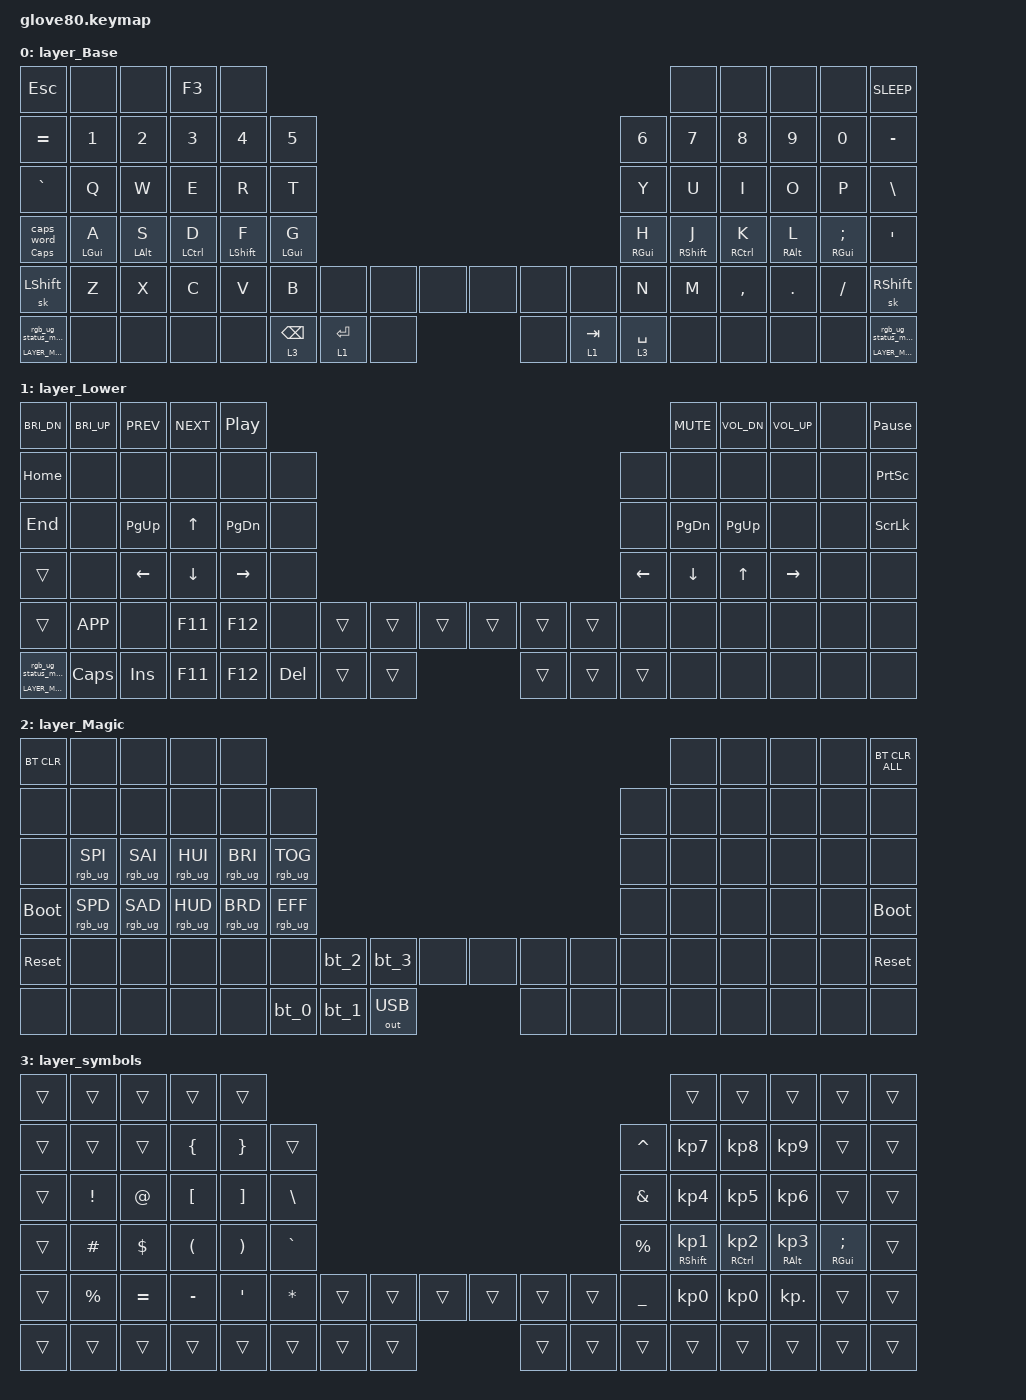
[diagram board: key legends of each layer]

/*
 * Copyright (c) 2020 The ZMK Contributors
 * Copyright (c) 2023 Innaworks Development Limited, trading as MoErgo
 *
 * SPDX-License-Identifier: MIT
 */


/* THIS FILE WAS GENERATED BY GLOVE80 LAYOUT EDITOR
 *
 * This file was generated automatically. You may or may not want to
 * edit it directly.
 */

#include <behaviors.dtsi>
/* Include all behaviour includes needed */
#include <dt-bindings/zmk/outputs.h>
#include <dt-bindings/zmk/keys.h>
#include <dt-bindings/zmk/bt.h>
#include <dt-bindings/zmk/rgb.h>

/* Automatically generated layer name #define */
#define LAYER_Base 0
#define LAYER_Lower 1
#define LAYER_Magic 2
#define LAYER_symbols 3

/* To deal with the situation where there is no Lower layer, to keep &lower happy */
#ifndef LAYER_Lower
#define LAYER_Lower 0
#endif

/* Custom Device-tree */



/* Glove80 system behavior & macros */
/ {
    behaviors {
        // For the "layer" key, it'd nice to be able to use it as either a shift or a toggle.
        // Configure it as a tap dance, so the first tap (or hold) is a &mo and the second tap is a &to
        lower: lower {
            compatible = "zmk,behavior-tap-dance";
            label = "LAYER_TAP_DANCE";
            #binding-cells = <0>;
            tapping-term-ms = <200>;
            bindings = <&mo LAYER_Lower>, <&to LAYER_Lower>;
        };
    };
};

/ {
    macros {
        rgb_ug_status_macro: rgb_ug_status_macro {
            label = "RGB_UG_STATUS";
            compatible = "zmk,behavior-macro";
            #binding-cells = <0>;
            bindings
                = <&rgb_ug RGB_STATUS>;
        };
    };
};


/ {
#ifdef BT_DISC_CMD
    behaviors {
        bt_0: bt_0 {
            compatible = "zmk,behavior-tap-dance";
            label = "BT_0";
            #binding-cells = <0>;
            tapping-term-ms = <200>;
            bindings = <&bt_select_0>, <&bt BT_DISC 0>;
        };
        bt_1: bt_1 {
            compatible = "zmk,behavior-tap-dance";
            label = "BT_1";
            #binding-cells = <0>;
            tapping-term-ms = <200>;
            bindings = <&bt_select_1>, <&bt BT_DISC 1>;
        };
        bt_2: bt_2 {
            compatible = "zmk,behavior-tap-dance";
            label = "BT_2";
            #binding-cells = <0>;
            tapping-term-ms = <200>;
            bindings = <&bt_select_2>, <&bt BT_DISC 2>;
        };
        bt_3: bt_3 {
            compatible = "zmk,behavior-tap-dance";
            label = "BT_3";
            #binding-cells = <0>;
            tapping-term-ms = <200>;
            bindings = <&bt_select_3>, <&bt BT_DISC 3>;
        };
    };
    macros {
        bt_select_0: bt_select_0 {
            label = "BT_SELECT_0";
            compatible = "zmk,behavior-macro";
            #binding-cells = <0>;
            bindings
                = <&out OUT_BLE>,
                  <&bt BT_SEL 0>;
        };
        bt_select_1: bt_select_1 {
            label = "BT_SELECT_1";
            compatible = "zmk,behavior-macro";
            #binding-cells = <0>;
            bindings
                = <&out OUT_BLE>,
                  <&bt BT_SEL 1>;
        };
        bt_select_2: bt_select_2 {
            label = "BT_SELECT_2";
            compatible = "zmk,behavior-macro";
            #binding-cells = <0>;
            bindings
                = <&out OUT_BLE>,
                  <&bt BT_SEL 2>;
        };
        bt_select_3: bt_select_3 {
            label = "BT_SELECT_3";
            compatible = "zmk,behavior-macro";
            #binding-cells = <0>;
            bindings
                = <&out OUT_BLE>,
                  <&bt BT_SEL 3>;
        };
    };
#else
    macros {
        bt_0: bt_0 {
            label = "BT_0";
            compatible = "zmk,behavior-macro";
            #binding-cells = <0>;
            bindings
                = <&out OUT_BLE>,
                  <&bt BT_SEL 0>;
        };
        bt_1: bt_1 {
            label = "BT_1";
            compatible = "zmk,behavior-macro";
            #binding-cells = <0>;
            bindings
                = <&out OUT_BLE>,
                  <&bt BT_SEL 1>;
        };
        bt_2: bt_2 {
            label = "BT_2";
            compatible = "zmk,behavior-macro";
            #binding-cells = <0>;
            bindings
                = <&out OUT_BLE>,
                  <&bt BT_SEL 2>;
        };
        bt_3: bt_3 {
            label = "BT_3";
            compatible = "zmk,behavior-macro";
            #binding-cells = <0>;
            bindings
                = <&out OUT_BLE>,
                  <&bt BT_SEL 3>;
        };
    };
#endif
};

/ {
    behaviors {
        magic: magic {
            compatible = "zmk,behavior-hold-tap";
            label = "MAGIC_HOLD_TAP";
            #binding-cells = <2>;
            flavor = "tap-preferred";
            tapping-term-ms = <200>;
            bindings = <&mo>, <&rgb_ug_status_macro>;
        };
    };
};

/* #define for key positions */
#define POS_LH_T1 52
#define POS_LH_T2 53
#define POS_LH_T3 54
#define POS_LH_T4 69
#define POS_LH_T5 70
#define POS_LH_T6 71
#define POS_LH_C1R2 15
#define POS_LH_C1R3 27
#define POS_LH_C1R4 39
#define POS_LH_C1R5 51
#define POS_LH_C2R1 4
#define POS_LH_C2R2 14
#define POS_LH_C2R3 26
#define POS_LH_C2R4 38
#define POS_LH_C2R5 50
#define POS_LH_C2R6 68
#define POS_LH_C3R1 3
#define POS_LH_C3R2 13
#define POS_LH_C3R3 25
#define POS_LH_C3R4 37
#define POS_LH_C3R5 49
#define POS_LH_C3R6 67
#define POS_LH_C4R1 2
#define POS_LH_C4R2 12
#define POS_LH_C4R3 24
#define POS_LH_C4R4 36
#define POS_LH_C4R5 48
#define POS_LH_C4R6 66
#define POS_LH_C5R1 1
#define POS_LH_C5R2 11
#define POS_LH_C5R3 23
#define POS_LH_C5R4 35
#define POS_LH_C5R5 47
#define POS_LH_C5R6 65
#define POS_LH_C6R1 0
#define POS_LH_C6R2 10
#define POS_LH_C6R3 22
#define POS_LH_C6R4 34
#define POS_LH_C6R5 46
#define POS_LH_C6R6 64
#define POS_RH_T1 57
#define POS_RH_T2 56
#define POS_RH_T3 55
#define POS_RH_T4 74
#define POS_RH_T5 73
#define POS_RH_T6 72
#define POS_RH_C1R2 16
#define POS_RH_C1R3 28
#define POS_RH_C1R4 40
#define POS_RH_C1R5 58
#define POS_RH_C2R1 5
#define POS_RH_C2R2 17
#define POS_RH_C2R3 29
#define POS_RH_C2R4 41
#define POS_RH_C2R5 59
#define POS_RH_C2R6 75
#define POS_RH_C3R1 6
#define POS_RH_C3R2 18
#define POS_RH_C3R3 30
#define POS_RH_C3R4 42
#define POS_RH_C3R5 60
#define POS_RH_C3R6 76
#define POS_RH_C4R1 7
#define POS_RH_C4R2 19
#define POS_RH_C4R3 31
#define POS_RH_C4R4 43
#define POS_RH_C4R5 61
#define POS_RH_C4R6 77
#define POS_RH_C5R1 8
#define POS_RH_C5R2 20
#define POS_RH_C5R3 32
#define POS_RH_C5R4 44
#define POS_RH_C5R5 62
#define POS_RH_C5R6 78
#define POS_RH_C6R1 9
#define POS_RH_C6R2 21
#define POS_RH_C6R3 33
#define POS_RH_C6R4 45
#define POS_RH_C6R5 63
#define POS_RH_C6R6 79

    /* Custom Defined Behaviors */
/ {
    behaviors {
    // mod/mod-shift tap-dance
    command_td: command_td_1 {
        compatible = "zmk,behavior-tap-dance";
        label = "COMMAND_TAP_DANCE";
        #binding-cells = <0>;
        tapping-term-ms = <200>;
        bindings = <&kp LGUI>, <&kp LS(LGUI)>;
    };

    loption_td: option_td_1 {
        compatible = "zmk,behavior-tap-dance";
        label = "LOPTION_TAP_DANCE";
        #binding-cells = <0>;
        tapping-term-ms = <200>;
        bindings = <&kp LALT>, <&kp LS(LALT)>;
    };
    roption_td: option_td_2 {
        compatible = "zmk,behavior-tap-dance";
        label = "ROPTION_TAP_DANCE";
        #binding-cells = <0>;
        tapping-term-ms = <200>;
        bindings = <&kp RALT>, <&kp LS(RALT)>;
    };

    ctrl_td: ctrl_td_1 {
        compatible = "zmk,behavior-tap-dance";
        label = "CTRL_TAP_DANCE";
        #binding-cells = <0>;
        tapping-term-ms = <200>;
        bindings = <&kp LCTRL>, <&kp LS(LCTRL)>;
    };

    lshift_td: shift_td_1 {
        compatible = "zmk,behavior-tap-dance";
        label = "LSHIFT_TAP_DANCE";
        #binding-cells = <0>;
        tapping-term-ms = <200>;
        bindings = <&kp LSHIFT>, <&kp CAPSLOCK >;
    };
    rshift_td: shift_td_2 {
        compatible = "zmk,behavior-tap-dance";
        label = "LSHIFT_TAP_DANCE";
        #binding-cells = <0>;
        tapping-term-ms = <200>;
        bindings = <&kp RSHIFT>, <&kp CAPSLOCK >;
    };

//////////////////////////////////////////////////////////////////////////
//
// ** BEGIN BEHAVIORS (copied from https://my.glove80.com/#/layout/user/c4d374f7-6439-4454-af14-efe617bba9e3)
//
//////////////////////////////////////////////////////////////////////////

    //////////////////////////////////////////////////////////////////////////
    //
    // ** HOME ROW MODIFICATION
    //
    //////////////////////////////////////////////////////////////////////////
    //
    // Miryoku layers and home row mods (ported from my QMK endgame)
    // - https://sunaku.github.io/home-row-mods.html#porting-to-zmk
    // - https://github.com/urob/zmk-config#timeless-homerow-mods
    //
    //////////////////////////////////////////////////////////////////////////

    //
    // HOMEY_HOLDING_TYPE defines the flavor of ZMK hold-tap behavior to use
    // for the pinky, ring, and middle fingers (which are assigned to Super,
    // Alt, and Ctrl respectively in the Miryoku system) on home row keys.
    //
    #ifndef HOMEY_HOLDING_TYPE
    #define HOMEY_HOLDING_TYPE "tap-preferred"
    #endif

    //
    // HOMEY_HOLDING_TIME defines how long you need to hold (milliseconds)
    // home row mod keys in order to send their modifiers to the computer
    // (i.e. "register" them) for mod-click mouse usage (e.g. Ctrl-Click).
    //
    #ifndef HOMEY_HOLDING_TIME
    #define HOMEY_HOLDING_TIME 270 // TAPPING_TERM + ALLOW_CROSSOVER_AFTER
    #endif

    //
    // HOMEY_STREAK_DECAY defines how long you need to wait (milliseconds)
    // after typing before you can use home row mods again.  It prevents
    // unintended activation of home row mods when you're actively typing.
    //
    #ifndef HOMEY_STREAK_DECAY
    #define HOMEY_STREAK_DECAY 170 // global-quick-tap-ms
    #endif

    //
    // HOMEY_REPEAT_DECAY defines how much time you have left (milliseconds)
    // after tapping a key to hold it again in order to make it auto-repeat.
    //
    #ifndef HOMEY_REPEAT_DECAY
    #define HOMEY_REPEAT_DECAY 300 // "tap then hold" for key auto-repeat
    #endif

    //
    // SHIFT_HOLDING_TYPE defines the flavor of ZMK hold-tap behavior to use
    // for index fingers (which Miryoku assigns to Shift) on home row keys.
    //
    // NOTE: The "tap-preferred" flavor of ZMK hold-tap for index finger keys
    // allows faster activation of the Shift modifier (without having to wait
    // for the modified key to be released as the "balanced" flavor requires).
    // Typing streaks and the `hold-trigger-on-release` setting are disabled
    // for the index fingers so as not to hinder their speed and dexterity.
    //
    #ifndef SHIFT_HOLDING_TYPE
    #define SHIFT_HOLDING_TYPE "tap-preferred"
    #endif

    //
    // SHIFT_HOLDING_TIME defines how long you need to hold (milliseconds)
    // index finger keys in order to send their modifiers to the computer
    // (i.e. "register" them) for mod-click mouse usage (e.g. Shift-Click).
    //
    // CAUTION: You'll need to perform inward rolls from pinky->ring->middle
    // fingers toward the index fingers when activating multiple modifiers
    // because `hold-trigger-on-release` is disabled for the index fingers.
    // Otherwise, you may be surprised that the index fingers' modifier is
    // sent immediately without the rest of your multi-mod chord when you
    // perform outward rolls from your index fingers toward your pinkies.
    //

    // originally 170, pm updated to 200
    #ifndef SHIFT_HOLDING_TIME
    #define SHIFT_HOLDING_TIME 200
    #endif

    //
    // SHIFT_STREAK_DECAY defines how long you need to wait (milliseconds)
    // after typing before you can use home row mods again.  It prevents
    // unintended activation of home row mods when you're actively typing.
    //
    #ifndef SHIFT_STREAK_DECAY
    #define SHIFT_STREAK_DECAY 70 // global-quick-tap-ms
    #endif

    //
    // SHIFT_REPEAT_DECAY defines how much time you have left (milliseconds)
    // after tapping a key to hold it again in order to make it auto-repeat.
    //
    #ifndef SHIFT_REPEAT_DECAY
    #define SHIFT_REPEAT_DECAY 300 // "tap then hold" for key auto-repeat
    #endif

    //
    // THUMB_HOLDING_TYPE defines the flavor of ZMK hold-tap behavior to use
    // for the thumbs (which are assigned to 6 layers in the Miryoku system).
    //
    // NOTE: The "balanced" flavor of ZMK hold-tap provides instant modifier
    // activation for the symbol layer (if the tapped symbol key is released
    // while the thumb layer key is still held down) for quicker programming.
    //
    #ifndef THUMB_HOLDING_TYPE
    #define THUMB_HOLDING_TYPE "balanced"
    #endif

    //
    // THUMB_HOLDING_TIME defines how long you need to hold (milliseconds)
    // a thumb key to activate a layer.  Shorter holds are treated as taps.
    //
    #ifndef THUMB_HOLDING_TIME
    #define THUMB_HOLDING_TIME 200
    #endif

    //
    // THUMB_REPEAT_DECAY defines how much time you have left (milliseconds)
    // after tapping a key to hold it again in order to make it auto-repeat.
    //
    #ifndef THUMB_REPEAT_DECAY
    #define THUMB_REPEAT_DECAY 300 // "tap then hold" for key auto-repeat
    #endif

    //
    // SPACE_HOLDING_TIME defines how long you need to hold (milliseconds)
    // the space thumb key to activate.  Shorter holds are treated as taps.
    //
    #ifndef SPACE_HOLDING_TIME
    #define SPACE_HOLDING_TIME 170
    #endif

    //
    // SPACE_REPEAT_DECAY defines how much time you have left (milliseconds)
    // after tapping a key to hold it again in order to make it auto-repeat.
    //
    #ifndef SPACE_REPEAT_DECAY
    #define SPACE_REPEAT_DECAY 200 // "tap then hold" for key auto-repeat
    #endif

    // CAPPY_HOLDING_TIME defines how long you need to hold (milliseconds)
    // cappy to type CapsLock.  Shorter holds are taps that type CapsWord.
    //
    #ifndef CAPPY_HOLDING_TIME
    #define CAPPY_HOLDING_TIME 200
    #endif

    //
    // Glove80 key positions index for positional hold-tap
    // - https://discord.com/channels/877392805654306816/937645688244826154/1066713913351221248
    // - https://media.discordapp.net/attachments/937645688244826154/1066713913133121556/image.png
    //
    // |------------------------|------------------------|
    // | LEFT_HAND_KEYS         |        RIGHT_HAND_KEYS |
    // |                        |                        |
    // |  0  1  2  3  4         |          5  6  7  8  9 |
    // | 10 11 12 13 14 15      |      16 17 18 19 20 21 |
    // | 22 23 24 25 26 27      |      28 29 30 31 32 33 |
    // | 34 35 36 37 38 39      |      40 41 42 43 44 45 |
    // | 46 47 48 49 50 51      |      58 59 60 61 62 63 |
    // | 64 65 66 67 68         |         75 76 77 78 79 |
    // |                69 52   |   57 74                |
    // |                 70 53  |  56 73                 |
    // |                  71 54 | 55 72                  |
    // |------------------------|------------------------|
    //
    #define LEFT_HAND_KEYS      \
          0  1  2  3  4         \
         10 11 12 13 14 15      \
         22 23 24 25 26 27      \
         34 35 36 37 38 39      \
         46 47 48 49 50 51      \
         64 65 66 67 68
    #define RIGHT_HAND_KEYS     \
                                           5  6  7  8  9 \
                                       16 17 18 19 20 21 \
                                       28 29 30 31 32 33 \
                                       40 41 42 43 44 45 \
                                       58 59 60 61 62 63 \
                                          75 76 77 78 79
    #define THUMB_KEYS          \
                        69 52       57 74                \
                         70 53     56 73                 \
                          71 54   55 72

    //
    // Home row mod-tap keys for all except index fingers
    //
    homey_left: miryoku_home_row_mods_left_hand {
        compatible = "zmk,behavior-hold-tap";
        label = "HOME_ROW_MODS_LEFT_HAND";
        flavor = HOMEY_HOLDING_TYPE;
        hold-trigger-key-positions = <RIGHT_HAND_KEYS THUMB_KEYS>;
        hold-trigger-on-release; // wait for other home row mods
        tapping-term-ms = <HOMEY_HOLDING_TIME>;
        quick-tap-ms = <HOMEY_REPEAT_DECAY>;
        require-prior-idle-ms = <HOMEY_STREAK_DECAY>;
        #binding-cells = <2>;
        bindings = <&kp>, <&kp>;
    };
    homey_right: miryoku_home_row_mods_right_hand {
        compatible = "zmk,behavior-hold-tap";
        label = "HOME_ROW_MODS_RIGHT_HAND";
        flavor = HOMEY_HOLDING_TYPE;
        hold-trigger-key-positions = <LEFT_HAND_KEYS THUMB_KEYS>;
        hold-trigger-on-release; // wait for other home row mods
        tapping-term-ms = <HOMEY_HOLDING_TIME>;
        quick-tap-ms = <HOMEY_REPEAT_DECAY>;
        require-prior-idle-ms = <HOMEY_STREAK_DECAY>;
        #binding-cells = <2>;
        bindings = <&kp>, <&kp>;
    };

    //
    // Special home row mod-tap keys for the index fingers
    //
    shift_left: miryoku_home_row_mods_left_shift_shift {
        compatible = "zmk,behavior-hold-tap";
        label = "HOME_ROW_MODS_LEFT_SHIFT_SHIFT";
        flavor = SHIFT_HOLDING_TYPE;
        hold-trigger-key-positions = <RIGHT_HAND_KEYS THUMB_KEYS>;
        //hold-trigger-on-release; // don't wait for other mods
        tapping-term-ms = <SHIFT_HOLDING_TIME>;
        quick-tap-ms = <SHIFT_REPEAT_DECAY>;
        require-prior-idle-ms = <SHIFT_STREAK_DECAY>;
        #binding-cells = <2>;
        bindings = <&kp>, <&kp>;
    };
    shift_right: miryoku_home_row_mods_right_shift_shift {
        compatible = "zmk,behavior-hold-tap";
        label = "HOME_ROW_MODS_RIGHT_SHIFT_SHIFT";
        flavor = SHIFT_HOLDING_TYPE;
        hold-trigger-key-positions = <LEFT_HAND_KEYS THUMB_KEYS>;
        //hold-trigger-on-release; // don't wait for other mods
        tapping-term-ms = <SHIFT_HOLDING_TIME>;
        quick-tap-ms = <SHIFT_REPEAT_DECAY>;
        require-prior-idle-ms = <SHIFT_STREAK_DECAY>;
        #binding-cells = <2>;
        bindings = <&kp>, <&kp>;
    };

    //
    // Thumb cluster hold-tap keys for Miryoku layers
    //
    thumb: miryoku_thumb_layer {
        compatible = "zmk,behavior-hold-tap";
        label = "MIRYOKU_THUMB_LAYER";
        flavor = THUMB_HOLDING_TYPE;
        tapping-term-ms = <THUMB_HOLDING_TIME>;
        quick-tap-ms = <THUMB_REPEAT_DECAY>; // enable repeat
        //global-quick-tap; // no typing streak
        //retro-tap; // don't allow slow (hold-like) taps
        #binding-cells = <2>;
        bindings = <&mo>, <&kp>;
    };
    space: miryoku_thumb_layer_spacebar {
        compatible = "zmk,behavior-hold-tap";
        label = "MIRYOKU_THUMB_LAYER_SPACEBAR";
        flavor = THUMB_HOLDING_TYPE;
        tapping-term-ms = <SPACE_HOLDING_TIME>;
        quick-tap-ms = <SPACE_REPEAT_DECAY>; // enable repeat
        //global-quick-tap; // no typing streak
        retro-tap; // allow slow (hold-like) taps
        #binding-cells = <2>;
        bindings = <&mo>, <&kp>;
    };

    //
    // Tap = CapsWord; Hold = CapsLock
    //
    cappy: capsword_and_capslock {
        compatible = "zmk,behavior-hold-tap";
        label = "CAPPY";
        flavor = "tap-preferred";
        tapping-term-ms = <CAPPY_HOLDING_TIME>;
        #binding-cells = <2>;
        bindings = <&kp>, <&caps_word>;
    };
};
// ** BEHAVIORS SECTION END



macros {
    lm: lm {
        label = "LAYER_MOD";
        compatible = "zmk,behavior-macro-two-param";
        wait-ms = <0>;
        tap-ms = <0>;
        #binding-cells = <2>;
        bindings
            = <&macro_param_1to1>
            , <&macro_press &mo MACRO_PLACEHOLDER>
            , <&macro_param_2to1>
            , <&macro_press &kp MACRO_PLACEHOLDER>
            , <&macro_pause_for_release>
            , <&macro_param_2to1>
            , <&macro_release &kp MACRO_PLACEHOLDER>
            , <&macro_param_1to1>
            , <&macro_release &mo MACRO_PLACEHOLDER>
            ;
    };
};
};

    /* Automatically generated keymap */
/ {
    keymap {
        compatible = "zmk,keymap";


        layer_Base {
            bindings = <
              &kp ESC               &none               &none               &kp F3                 &none                                                                                                                                             &none                 &none                &none                        &none           &kp C_SLEEP
            &kp EQUAL              &kp N1              &kp N2               &kp N3                &kp N4              &kp N5                                                                                                 &kp N6                 &kp N7                &kp N8               &kp N9                       &kp N0             &kp MINUS
            &kp GRAVE               &kp Q               &kp W                &kp E                 &kp R               &kp T                                                                                                  &kp Y                  &kp U                 &kp I                &kp O                        &kp P              &kp BSLH
    &cappy CAPSLOCK 0  &homey_left LGUI A  &homey_left LALT S  &homey_left LCTRL D  &shift_left LSHIFT F  &homey_left LGUI G                                                                                    &homey_right RGUI H  &shift_right RSHIFT J  &homey_right RCTRL K  &homey_right RALT L  &homey_right RGUI SEMICOLON               &kp SQT
            &sk LSHFT               &kp Z               &kp X                &kp C                 &kp V               &kp B               &none           &none   &none   &none         &none           &none                &kp N                  &kp M             &kp COMMA              &kp DOT                     &kp FSLH             &sk RSHFT
 &magic LAYER_Magic 0               &none               &none                &none                 &none                      &thumb 3 BACKSPACE  &thumb 1 ENTER   &none   &none  &thumb 1 TAB  &space 3 SPACE                                       &none                 &none                &none                        &none  &magic LAYER_Magic 0
            >;
        };

        layer_Lower {
            bindings = <
         &kp C_BRI_DN  &kp C_BRI_UP      &kp C_PREV      &kp C_NEXT         &kp C_PP                                                                     &kp C_MUTE  &kp C_VOL_DN  &kp C_VOL_UP   &none  &kp PAUSE_BREAK
             &kp HOME         &none           &none           &none            &none   &none                                                      &none       &none         &none         &none   &none  &kp PRINTSCREEN
              &kp END         &none       &kp PG_UP    &kp UP_ARROW        &kp PG_DN   &none                                                      &none   &kp PG_DN     &kp PG_UP         &none   &none   &kp SCROLLLOCK
               &trans         &none  &kp LEFT_ARROW  &kp DOWN_ARROW  &kp RIGHT_ARROW   &none                                                   &kp LEFT    &kp DOWN        &kp UP     &kp RIGHT   &none            &none
               &trans     &kp K_APP           &none         &kp F11          &kp F12   &none   &trans  &trans  &trans  &trans  &trans  &trans     &none       &none         &none         &none   &none            &none
 &magic LAYER_Magic 0      &kp CAPS         &kp INS         &kp F11          &kp F12          &kp DEL  &trans  &trans  &trans  &trans  &trans                 &none         &none         &none   &none            &none
            >;
        };

        layer_Magic {
            bindings = <
  &bt BT_CLR            &none            &none            &none            &none                                                                                  &none   &none   &none   &none  &bt BT_CLR_ALL
       &none            &none            &none            &none            &none            &none                                                         &none   &none   &none   &none   &none           &none
       &none  &rgb_ug RGB_SPI  &rgb_ug RGB_SAI  &rgb_ug RGB_HUI  &rgb_ug RGB_BRI  &rgb_ug RGB_TOG                                                         &none   &none   &none   &none   &none           &none
 &bootloader  &rgb_ug RGB_SPD  &rgb_ug RGB_SAD  &rgb_ug RGB_HUD  &rgb_ug RGB_BRD  &rgb_ug RGB_EFF                                                         &none   &none   &none   &none   &none     &bootloader
  &sys_reset            &none            &none            &none            &none            &none   &bt_2   &bt_3         &none   &none   &none   &none   &none   &none   &none   &none   &none      &sys_reset
       &none            &none            &none            &none            &none                    &bt_0   &bt_1  &out OUT_USB   &none   &none   &none           &none   &none   &none   &none           &none
            >;
        };

        layer_symbols {
            bindings = <
 &trans     &trans     &trans     &trans    &trans                                                                                           &trans                    &trans                   &trans                       &trans  &trans
 &trans     &trans     &trans   &kp LBRC  &kp RBRC     &trans                                                  &kp CARET                  &kp KP_N7                 &kp KP_N8                &kp KP_N9                       &trans  &trans
 &trans   &kp EXCL     &kp AT   &kp LBKT  &kp RBKT   &kp BSLH                                                   &kp AMPS                  &kp KP_N4                 &kp KP_N5                &kp KP_N6                       &trans  &trans
 &trans   &kp HASH   &kp DLLR   &kp LPAR  &kp RPAR  &kp GRAVE                                                  &kp PRCNT  &shift_right RSHIFT KP_N1  &homey_right RCTRL KP_N2  &homey_right RALT KP_N3  &homey_right RGUI SEMICOLON  &trans
 &trans  &kp PRCNT  &kp EQUAL  &kp MINUS   &kp SQT   &kp STAR  &trans  &trans  &trans  &trans  &trans  &trans  &kp UNDER                  &kp KP_N0                 &kp KP_N0               &kp KP_DOT                       &trans  &trans
 &trans     &trans     &trans     &trans    &trans             &trans  &trans  &trans  &trans  &trans  &trans                                &trans                    &trans                   &trans                       &trans  &trans
            >;
        };

    };
};
